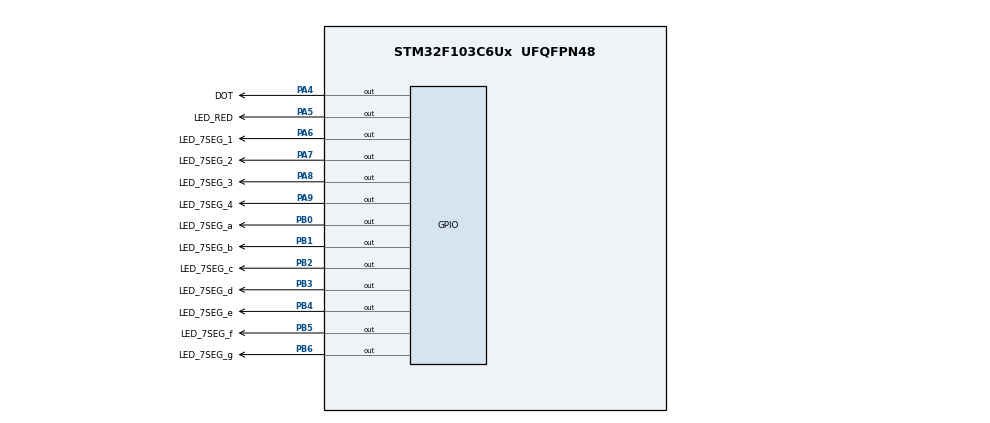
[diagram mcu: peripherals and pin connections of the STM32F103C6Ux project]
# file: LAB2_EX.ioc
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Mcu.Family=STM32F1
Mcu.Name=STM32F103C6Ux
Mcu.Package=UFQFPN48
NVIC.PriorityGroup=NVIC_PRIORITYGROUP_4
NVIC.TIM2_IRQn=true\:0\:0\:false\:false\:true\:true\:true
PA4.GPIO_Label=DOT
PA4.Signal=GPIO_Output
PA5.GPIO_Label=LED_RED
PA5.Signal=GPIO_Output
PA6.GPIO_Label=LED_7SEG_1
PA6.Signal=GPIO_Output
PA7.GPIO_Label=LED_7SEG_2
PA7.Signal=GPIO_Output
PA8.GPIO_Label=LED_7SEG_3
PA8.Signal=GPIO_Output
PA9.GPIO_Label=LED_7SEG_4
PA9.Signal=GPIO_Output
PB0.GPIO_Label=LED_7SEG_a
PB0.Signal=GPIO_Output
PB1.GPIO_Label=LED_7SEG_b
PB1.Signal=GPIO_Output
PB2.GPIO_Label=LED_7SEG_c
PB2.Signal=GPIO_Output
PB3.GPIO_Label=LED_7SEG_d
PB3.Signal=GPIO_Output
PB4.GPIO_Label=LED_7SEG_e
PB4.Signal=GPIO_Output
PB5.GPIO_Label=LED_7SEG_f
PB5.Signal=GPIO_Output
PB6.GPIO_Label=LED_7SEG_g
PB6.Signal=GPIO_Output
ProjectManager.HeapSize=0x200
ProjectManager.StackSize=0x400
ProjectManager.TargetToolchain=STM32CubeIDE
RCC.APB1Freq_Value=8000000
RCC.APB2Freq_Value=8000000
TIM2.Period=9
TIM2.Prescaler=7999
VP_SYS_VS_ND.Mode=No_Debug
VP_TIM2_VS_ClockSourceINT.Mode=Internal
board=custom

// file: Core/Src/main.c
/* USER CODE BEGIN Header */
/**
  ******************************************************************************
  * @file           : main.c
  * @brief          : Main program body
  ******************************************************************************
  * @attention
  *
  * <h2><center>&copy; Copyright (c) 2025 STMicroelectronics.
  * All rights reserved.</center></h2>
  *
  * This software component is licensed by ST under BSD 3-Clause license,
  * the "License"; You may not use this file except in compliance with the
  * License. You may obtain a copy of the License at:
  *                        opensource.org/licenses/BSD-3-Clause
  *
  ******************************************************************************
  */
/* USER CODE END Header */
#include "main.h"

/* USER CODE BEGIN Includes */
#include "software_timer.h"
/* USER CODE END Includes */

TIM_HandleTypeDef htim2;

/* USER CODE BEGIN PV */
int hour = 23, minute = 59, second = 55;
/* USER CODE END PV */

void SystemClock_Config(void);
static void MX_GPIO_Init(void);
static void MX_TIM2_Init(void);

int main(void)
{
  /* USER CODE BEGIN 1 */
//main
  /* USER CODE END 1 */

  /* MCU Configuration--------------------------------------------------------*/

  /* Reset of all peripherals, Initializes the Flash interface and the Systick. */
  HAL_Init();

  /* Configure the system clock */
  SystemClock_Config();

  /* Initialize all configured peripherals */
  MX_GPIO_Init();
  MX_TIM2_Init();
  /* USER CODE BEGIN 2 */
  HAL_TIM_Base_Start_IT(&htim2);
  HAL_GPIO_WritePin(LED_RED_GPIO_Port, LED_RED_Pin, SET);
  HAL_GPIO_WritePin(DOT_GPIO_Port, DOT_Pin, SET);
  HAL_GPIO_WritePin(LED_7SEG_1_GPIO_Port, LED_7SEG_1_Pin, SET);
  HAL_GPIO_WritePin(LED_7SEG_2_GPIO_Port, LED_7SEG_2_Pin, SET);
  HAL_GPIO_WritePin(LED_7SEG_3_GPIO_Port, LED_7SEG_3_Pin, SET);
  HAL_GPIO_WritePin(LED_7SEG_4_GPIO_Port, LED_7SEG_4_Pin, SET);
  /* USER CODE END 2 */

  /* Infinite loop */
  /* USER CODE BEGIN WHILE */
  setTimer1(100);//init led_red toggle/s

  setTimer3(50);//int time display led 7SEG
  setTimer4(10);//init timer counter
  //int hour = 15, minute = 8, second = 50;
  int index_led_buffer = 0;
  while (1)
  {
	  //led toggle
	  if(timer1_flag == 1)
	  {
		  setTimer1(100);//reset time
		  HAL_GPIO_TogglePin(LED_RED_GPIO_Port, LED_RED_Pin);
		  HAL_GPIO_TogglePin(DOT_GPIO_Port, DOT_Pin);
	  }

	  //ex5 - digital clock}
	  //timer controller
	  if(timer4_flag == 1)
	  {
		  setTimer4(100);//reset time 1s
		  second++;
		  if(second >= 60)
		  {
			  second = 0;
			  minute++;
		  }
		  if(minute >= 60)
		  {
			  minute = 0;
			  hour++;
		  }
		  if(hour >= 24)
		  {
			  hour = 0;
		  }
		  updateClockBuffer();
	  }
	  //display contoller
	  if(timer3_flag == 1)
	  {
		  setTimer3(50);
		  update7SEG(index_led_buffer);
		  index_led_buffer++;
		  if(index_led_buffer >= 4) index_led_buffer = 0;
	  }

    /* USER CODE END WHILE */

  }
}

void SystemClock_Config(void)
{
  RCC_OscInitTypeDef RCC_OscInitStruct = {0};
  RCC_ClkInitTypeDef RCC_ClkInitStruct = {0};

  /** Initializes the RCC Oscillators according to the specified parameters
  * in the RCC_OscInitTypeDef structure.
  */
  RCC_OscInitStruct.OscillatorType = RCC_OSCILLATORTYPE_HSI;
  RCC_OscInitStruct.HSIState = RCC_HSI_ON;
  RCC_OscInitStruct.HSICalibrationValue = RCC_HSICALIBRATION_DEFAULT;
  RCC_OscInitStruct.PLL.PLLState = RCC_PLL_NONE;
  if (HAL_RCC_OscConfig(&RCC_OscInitStruct) != HAL_OK)
  {
    Error_Handler();
  }
  /** Initializes the CPU, AHB and APB buses clocks
  */
  RCC_ClkInitStruct.ClockType = RCC_CLOCKTYPE_HCLK|RCC_CLOCKTYPE_SYSCLK
                              |RCC_CLOCKTYPE_PCLK1|RCC_CLOCKTYPE_PCLK2;
  RCC_ClkInitStruct.SYSCLKSource = RCC_SYSCLKSOURCE_HSI;
  RCC_ClkInitStruct.AHBCLKDivider = RCC_SYSCLK_DIV1;
  RCC_ClkInitStruct.APB1CLKDivider = RCC_HCLK_DIV1;
  RCC_ClkInitStruct.APB2CLKDivider = RCC_HCLK_DIV1;

  if (HAL_RCC_ClockConfig(&RCC_ClkInitStruct, FLASH_LATENCY_0) != HAL_OK)
  {
    Error_Handler();
  }
}

static void MX_TIM2_Init(void)
{

  TIM_ClockConfigTypeDef sClockSourceConfig = {0};
  TIM_MasterConfigTypeDef sMasterConfig = {0};

  htim2.Instance = TIM2;
  htim2.Init.Prescaler = 7999;
  htim2.Init.CounterMode = TIM_COUNTERMODE_UP;
  htim2.Init.Period = 9;
  htim2.Init.ClockDivision = TIM_CLOCKDIVISION_DIV1;
  htim2.Init.AutoReloadPreload = TIM_AUTORELOAD_PRELOAD_DISABLE;
  if (HAL_TIM_Base_Init(&htim2) != HAL_OK)
  {
    Error_Handler();
  }
  sClockSourceConfig.ClockSource = TIM_CLOCKSOURCE_INTERNAL;
  if (HAL_TIM_ConfigClockSource(&htim2, &sClockSourceConfig) != HAL_OK)
  {
    Error_Handler();
  }
  sMasterConfig.MasterOutputTrigger = TIM_TRGO_RESET;
  sMasterConfig.MasterSlaveMode = TIM_MASTERSLAVEMODE_DISABLE;
  if (HAL_TIMEx_MasterConfigSynchronization(&htim2, &sMasterConfig) != HAL_OK)
  {
    Error_Handler();
  }

}

static void MX_GPIO_Init(void)
{
  GPIO_InitTypeDef GPIO_InitStruct = {0};

  /* GPIO Ports Clock Enable */
  __HAL_RCC_GPIOA_CLK_ENABLE();
  __HAL_RCC_GPIOB_CLK_ENABLE();

  /*Configure GPIO pin Output Level */
  HAL_GPIO_WritePin(GPIOA, DOT_Pin|LED_RED_Pin|LED_7SEG_1_Pin|LED_7SEG_2_Pin
                          |LED_7SEG_3_Pin|LED_7SEG_4_Pin, GPIO_PIN_RESET);

  /*Configure GPIO pin Output Level */
  HAL_GPIO_WritePin(GPIOB, LED_7SEG_a_Pin|LED_7SEG_b_Pin|LED_7SEG_c_Pin|LED_7SEG_d_Pin
                          |LED_7SEG_e_Pin|LED_7SEG_f_Pin|LED_7SEG_g_Pin, GPIO_PIN_RESET);

  /*Configure GPIO pins : DOT_Pin LED_RED_Pin LED_7SEG_1_Pin LED_7SEG_2_Pin
                           LED_7SEG_3_Pin LED_7SEG_4_Pin */
  GPIO_InitStruct.Pin = DOT_Pin|LED_RED_Pin|LED_7SEG_1_Pin|LED_7SEG_2_Pin
                          |LED_7SEG_3_Pin|LED_7SEG_4_Pin;
  GPIO_InitStruct.Mode = GPIO_MODE_OUTPUT_PP;
  GPIO_InitStruct.Pull = GPIO_NOPULL;
  GPIO_InitStruct.Speed = GPIO_SPEED_FREQ_LOW;
  HAL_GPIO_Init(GPIOA, &GPIO_InitStruct);

  /*Configure GPIO pins : LED_7SEG_a_Pin LED_7SEG_b_Pin LED_7SEG_c_Pin LED_7SEG_d_Pin
                           LED_7SEG_e_Pin LED_7SEG_f_Pin LED_7SEG_g_Pin */
  GPIO_InitStruct.Pin = LED_7SEG_a_Pin|LED_7SEG_b_Pin|LED_7SEG_c_Pin|LED_7SEG_d_Pin
                          |LED_7SEG_e_Pin|LED_7SEG_f_Pin|LED_7SEG_g_Pin;
  GPIO_InitStruct.Mode = GPIO_MODE_OUTPUT_PP;
  GPIO_InitStruct.Pull = GPIO_NOPULL;
  GPIO_InitStruct.Speed = GPIO_SPEED_FREQ_LOW;
  HAL_GPIO_Init(GPIOB, &GPIO_InitStruct);

}

/* USER CODE BEGIN 4 */
void HAL_TIM_PeriodElapsedCallback(TIM_HandleTypeDef *htim){
	timerRun();

}

void clear7SEG(){
	HAL_GPIO_WritePin(LED_7SEG_a_GPIO_Port, LED_7SEG_a_Pin, SET);
	HAL_GPIO_WritePin(LED_7SEG_a_GPIO_Port, LED_7SEG_a_Pin, SET);
	HAL_GPIO_WritePin(LED_7SEG_b_GPIO_Port, LED_7SEG_b_Pin, SET);
	HAL_GPIO_WritePin(LED_7SEG_c_GPIO_Port, LED_7SEG_c_Pin, SET);
	HAL_GPIO_WritePin(LED_7SEG_d_GPIO_Port, LED_7SEG_d_Pin, SET);
	HAL_GPIO_WritePin(LED_7SEG_e_GPIO_Port, LED_7SEG_e_Pin, SET);
	HAL_GPIO_WritePin(LED_7SEG_f_GPIO_Port, LED_7SEG_f_Pin, SET);
	HAL_GPIO_WritePin(LED_7SEG_g_GPIO_Port, LED_7SEG_g_Pin, SET);
}
void display7SEG(int num){
	switch (num)
	{
	case 0:
		HAL_GPIO_WritePin(LED_7SEG_a_GPIO_Port, LED_7SEG_a_Pin, RESET);
		HAL_GPIO_WritePin(LED_7SEG_b_GPIO_Port, LED_7SEG_b_Pin, RESET);
		HAL_GPIO_WritePin(LED_7SEG_c_GPIO_Port, LED_7SEG_c_Pin, RESET);
		HAL_GPIO_WritePin(LED_7SEG_d_GPIO_Port, LED_7SEG_d_Pin, RESET);
		HAL_GPIO_WritePin(LED_7SEG_e_GPIO_Port, LED_7SEG_e_Pin, RESET);
		HAL_GPIO_WritePin(LED_7SEG_f_GPIO_Port, LED_7SEG_f_Pin, RESET);
		HAL_GPIO_WritePin(LED_7SEG_g_GPIO_Port, LED_7SEG_g_Pin, SET);
		break;
	case 1:
		HAL_GPIO_WritePin(LED_7SEG_a_GPIO_Port, LED_7SEG_a_Pin, SET);
		HAL_GPIO_WritePin(LED_7SEG_b_GPIO_Port, LED_7SEG_b_Pin, RESET);
		HAL_GPIO_WritePin(LED_7SEG_c_GPIO_Port, LED_7SEG_c_Pin, RESET);
		HAL_GPIO_WritePin(LED_7SEG_d_GPIO_Port, LED_7SEG_d_Pin, SET);
		HAL_GPIO_WritePin(LED_7SEG_e_GPIO_Port, LED_7SEG_e_Pin, SET);
		HAL_GPIO_WritePin(LED_7SEG_f_GPIO_Port, LED_7SEG_f_Pin, SET);
		HAL_GPIO_WritePin(LED_7SEG_g_GPIO_Port, LED_7SEG_g_Pin, SET);
		break;
	case 2:
		HAL_GPIO_WritePin(LED_7SEG_a_GPIO_Port, LED_7SEG_a_Pin, RESET);
		HAL_GPIO_WritePin(LED_7SEG_b_GPIO_Port, LED_7SEG_b_Pin, RESET);
		HAL_GPIO_WritePin(LED_7SEG_c_GPIO_Port, LED_7SEG_c_Pin, SET);
		HAL_GPIO_WritePin(LED_7SEG_d_GPIO_Port, LED_7SEG_d_Pin, RESET);
		HAL_GPIO_WritePin(LED_7SEG_e_GPIO_Port, LED_7SEG_e_Pin, RESET);
		HAL_GPIO_WritePin(LED_7SEG_f_GPIO_Port, LED_7SEG_f_Pin, SET);
		HAL_GPIO_WritePin(LED_7SEG_g_GPIO_Port, LED_7SEG_g_Pin, RESET);
		break;
	case 3:
		HAL_GPIO_WritePin(LED_7SEG_a_GPIO_Port, LED_7SEG_a_Pin, RESET);
		HAL_GPIO_WritePin(LED_7SEG_b_GPIO_Port, LED_7SEG_b_Pin, RESET);
		HAL_GPIO_WritePin(LED_7SEG_c_GPIO_Port, LED_7SEG_c_Pin, RESET);
		HAL_GPIO_WritePin(LED_7SEG_d_GPIO_Port, LED_7SEG_d_Pin, RESET);
		HAL_GPIO_WritePin(LED_7SEG_e_GPIO_Port, LED_7SEG_e_Pin, SET);
		HAL_GPIO_WritePin(LED_7SEG_f_GPIO_Port, LED_7SEG_f_Pin, SET);
		HAL_GPIO_WritePin(LED_7SEG_g_GPIO_Port, LED_7SEG_g_Pin, RESET);
		break;
	case 4:
		HAL_GPIO_WritePin(LED_7SEG_a_GPIO_Port, LED_7SEG_a_Pin, SET);
		HAL_GPIO_WritePin(LED_7SEG_b_GPIO_Port, LED_7SEG_b_Pin, RESET);
		HAL_GPIO_WritePin(LED_7SEG_c_GPIO_Port, LED_7SEG_c_Pin, RESET);
		HAL_GPIO_WritePin(LED_7SEG_d_GPIO_Port, LED_7SEG_d_Pin, SET);
		HAL_GPIO_WritePin(LED_7SEG_e_GPIO_Port, LED_7SEG_e_Pin, SET);
		HAL_GPIO_WritePin(LED_7SEG_f_GPIO_Port, LED_7SEG_f_Pin, RESET);
		HAL_GPIO_WritePin(LED_7SEG_g_GPIO_Port, LED_7SEG_g_Pin, RESET);
		break;
	case 5:
		HAL_GPIO_WritePin(LED_7SEG_a_GPIO_Port, LED_7SEG_a_Pin, RESET);
		HAL_GPIO_WritePin(LED_7SEG_b_GPIO_Port, LED_7SEG_b_Pin, SET);
		HAL_GPIO_WritePin(LED_7SEG_c_GPIO_Port, LED_7SEG_c_Pin, RESET);
		HAL_GPIO_WritePin(LED_7SEG_d_GPIO_Port, LED_7SEG_d_Pin, RESET);
		HAL_GPIO_WritePin(LED_7SEG_e_GPIO_Port, LED_7SEG_e_Pin, SET);
		HAL_GPIO_WritePin(LED_7SEG_f_GPIO_Port, LED_7SEG_f_Pin, RESET);
		HAL_GPIO_WritePin(LED_7SEG_g_GPIO_Port, LED_7SEG_g_Pin, RESET);
		break;
	case 6:
		HAL_GPIO_WritePin(LED_7SEG_a_GPIO_Port, LED_7SEG_a_Pin, RESET);
		HAL_GPIO_WritePin(LED_7SEG_b_GPIO_Port, LED_7SEG_b_Pin, SET);
		HAL_GPIO_WritePin(LED_7SEG_c_GPIO_Port, LED_7SEG_c_Pin, RESET);
		HAL_GPIO_WritePin(LED_7SEG_d_GPIO_Port, LED_7SEG_d_Pin, RESET);
		HAL_GPIO_WritePin(LED_7SEG_e_GPIO_Port, LED_7SEG_e_Pin, RESET);
		HAL_GPIO_WritePin(LED_7SEG_f_GPIO_Port, LED_7SEG_f_Pin, RESET);
		HAL_GPIO_WritePin(LED_7SEG_g_GPIO_Port, LED_7SEG_g_Pin, RESET);
		break;
	case 7:
		HAL_GPIO_WritePin(LED_7SEG_a_GPIO_Port, LED_7SEG_a_Pin, RESET);
		HAL_GPIO_WritePin(LED_7SEG_b_GPIO_Port, LED_7SEG_b_Pin, RESET);
		HAL_GPIO_WritePin(LED_7SEG_c_GPIO_Port, LED_7SEG_c_Pin, RESET);
		HAL_GPIO_WritePin(LED_7SEG_d_GPIO_Port, LED_7SEG_d_Pin, SET);
		HAL_GPIO_WritePin(LED_7SEG_e_GPIO_Port, LED_7SEG_e_Pin, SET);
		HAL_GPIO_WritePin(LED_7SEG_f_GPIO_Port, LED_7SEG_f_Pin, SET);
		HAL_GPIO_WritePin(LED_7SEG_g_GPIO_Port, LED_7SEG_g_Pin, SET);
		break;
	case 8:
		HAL_GPIO_WritePin(LED_7SEG_a_GPIO_Port, LED_7SEG_a_Pin, RESET);
		HAL_GPIO_WritePin(LED_7SEG_b_GPIO_Port, LED_7SEG_b_Pin, RESET);
		HAL_GPIO_WritePin(LED_7SEG_c_GPIO_Port, LED_7SEG_c_Pin, RESET);
		HAL_GPIO_WritePin(LED_7SEG_d_GPIO_Port, LED_7SEG_d_Pin, RESET);
		HAL_GPIO_WritePin(LED_7SEG_e_GPIO_Port, LED_7SEG_e_Pin, RESET);
		HAL_GPIO_WritePin(LED_7SEG_f_GPIO_Port, LED_7SEG_f_Pin, RESET);
		HAL_GPIO_WritePin(LED_7SEG_g_GPIO_Port, LED_7SEG_g_Pin, RESET);
		break;
	case 9:
		HAL_GPIO_WritePin(LED_7SEG_a_GPIO_Port, LED_7SEG_a_Pin, RESET);
		HAL_GPIO_WritePin(LED_7SEG_b_GPIO_Port, LED_7SEG_b_Pin, RESET);
		HAL_GPIO_WritePin(LED_7SEG_c_GPIO_Port, LED_7SEG_c_Pin, RESET);
		HAL_GPIO_WritePin(LED_7SEG_d_GPIO_Port, LED_7SEG_d_Pin, RESET);
		HAL_GPIO_WritePin(LED_7SEG_e_GPIO_Port, LED_7SEG_e_Pin, SET);
		HAL_GPIO_WritePin(LED_7SEG_f_GPIO_Port, LED_7SEG_f_Pin, RESET);
		HAL_GPIO_WritePin(LED_7SEG_g_GPIO_Port, LED_7SEG_g_Pin, RESET);
		break;
	default:
		break;
	}
}

//ex3
const int MAX_LED = 4;
int index_led = 0;
int led_buffer[4] = {1, 2, 3, 4};

void update7SEG(int index){
	switch (index){
	case 0:
		HAL_GPIO_WritePin(LED_7SEG_1_GPIO_Port, LED_7SEG_1_Pin, RESET);
		HAL_GPIO_WritePin(LED_7SEG_2_GPIO_Port, LED_7SEG_2_Pin, SET);
		HAL_GPIO_WritePin(LED_7SEG_3_GPIO_Port, LED_7SEG_3_Pin, SET);
		HAL_GPIO_WritePin(LED_7SEG_4_GPIO_Port, LED_7SEG_4_Pin, SET);
		display7SEG(led_buffer[index]);
		break;
	case 1:
		HAL_GPIO_WritePin(LED_7SEG_1_GPIO_Port, LED_7SEG_1_Pin, SET);
		HAL_GPIO_WritePin(LED_7SEG_2_GPIO_Port, LED_7SEG_2_Pin, RESET);
		HAL_GPIO_WritePin(LED_7SEG_3_GPIO_Port, LED_7SEG_3_Pin, SET);
		HAL_GPIO_WritePin(LED_7SEG_4_GPIO_Port, LED_7SEG_4_Pin, SET);
		display7SEG(led_buffer[index]);
		break;
	case 2:
		HAL_GPIO_WritePin(LED_7SEG_1_GPIO_Port, LED_7SEG_1_Pin, SET);
		HAL_GPIO_WritePin(LED_7SEG_2_GPIO_Port, LED_7SEG_2_Pin, SET);
		HAL_GPIO_WritePin(LED_7SEG_3_GPIO_Port, LED_7SEG_3_Pin, RESET);
		HAL_GPIO_WritePin(LED_7SEG_4_GPIO_Port, LED_7SEG_4_Pin, SET);
		display7SEG(led_buffer[index]);
		break;
	case 3:
		HAL_GPIO_WritePin(LED_7SEG_1_GPIO_Port, LED_7SEG_1_Pin, SET);
		HAL_GPIO_WritePin(LED_7SEG_2_GPIO_Port, LED_7SEG_2_Pin, SET);
		HAL_GPIO_WritePin(LED_7SEG_3_GPIO_Port, LED_7SEG_3_Pin, SET);
		HAL_GPIO_WritePin(LED_7SEG_4_GPIO_Port, LED_7SEG_4_Pin, RESET);
		display7SEG(led_buffer[index]);
		break;
	default:
		clear7SEG();
		break;
	}
}
//extern int hour, minute;
void updateClockBuffer(){
	//set hour
	led_buffer[0] = hour / 10;
	led_buffer[1] = hour % 10;

	//set minute
	led_buffer[2] = minute / 10;
	led_buffer[3] = minute % 10;

}
/* USER CODE END 4 */

void Error_Handler(void)
{
  __disable_irq();
  while (1)
  {
  }
}

/************************ (C) COPYRIGHT STMicroelectronics *****END OF FILE****/
